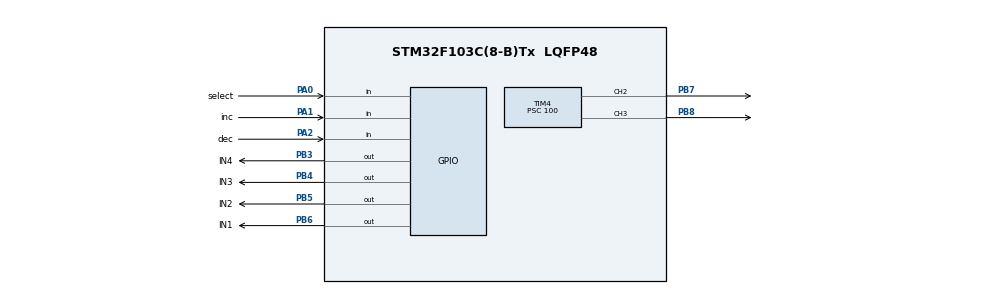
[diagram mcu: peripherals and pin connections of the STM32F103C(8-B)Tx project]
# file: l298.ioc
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Mcu.Family=STM32F1
Mcu.Name=STM32F103C(8-B)Tx
Mcu.Package=LQFP48
NVIC.PriorityGroup=NVIC_PRIORITYGROUP_4
PA0-WKUP.GPIO_Label=select
PA0-WKUP.GPIO_PuPd=GPIO_PULLUP
PA0-WKUP.Signal=GPIO_Input
PA1.GPIO_Label=inc
PA1.GPIO_PuPd=GPIO_PULLUP
PA1.Signal=GPIO_Input
PA13.Mode=Serial_Wire
PA13.Signal=SYS_JTMS-SWDIO
PA14.Mode=Serial_Wire
PA14.Signal=SYS_JTCK-SWCLK
PA2.GPIO_Label=dec
PA2.GPIO_PuPd=GPIO_PULLUP
PA2.Signal=GPIO_Input
PB3.GPIO_Label=IN4
PB3.Signal=GPIO_Output
PB4.GPIO_Label=IN3
PB4.Signal=GPIO_Output
PB5.GPIO_Label=IN2
PB5.Signal=GPIO_Output
PB6.GPIO_Label=IN1
PB6.Signal=GPIO_Output
PB7.Signal=S_TIM4_CH2
PB8.Signal=S_TIM4_CH3
ProjectManager.HeapSize=0x200
ProjectManager.StackSize=0x400
ProjectManager.TargetToolchain=EWARM V8.32
RCC.APB1Freq_Value=8000000
RCC.APB2Freq_Value=8000000
SH.S_TIM4_CH2.0=TIM4_CH2,PWM Generation2 CH2
SH.S_TIM4_CH3.0=TIM4_CH3,PWM Generation3 CH3
TIM4.Channel-PWM\ Generation2\ CH2=TIM_CHANNEL_2
TIM4.Channel-PWM\ Generation3\ CH3=TIM_CHANNEL_3
TIM4.ClockDivision=TIM_CLOCKDIVISION_DIV1
TIM4.Period=1000
TIM4.Prescaler=100
VP_TIM4_VS_ClockSourceINT.Mode=Internal
board=custom

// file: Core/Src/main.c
/* USER CODE BEGIN Header */
/**
  ******************************************************************************
  * @file           : main.c
  * @brief          : Main program body
  ******************************************************************************
  * @attention
  *
  * Copyright (c) 2025 STMicroelectronics.
  * All rights reserved.
  *
  * This software is licensed under terms that can be found in the LICENSE file
  * in the root directory of this software component.
  * If no LICENSE file comes with this software, it is provided AS-IS.
  *
  ******************************************************************************
  */
/* USER CODE END Header */
#include "main.h"

/* USER CODE BEGIN Includes */
#include "L298.h"
/* USER CODE END Includes */

TIM_HandleTypeDef htim4;

/* USER CODE BEGIN PV */
volatile int pwm=0;
char motor=0;
/* USER CODE END PV */

void SystemClock_Config(void);
static void MX_GPIO_Init(void);
static void MX_TIM4_Init(void);

int main(void)
{

  /* MCU Configuration--------------------------------------------------------*/

  /* Reset of all peripherals, Initializes the Flash interface and the Systick. */
  HAL_Init();

  /* Configure the system clock */
  SystemClock_Config();

  /* Initialize all configured peripherals */
  MX_GPIO_Init();
  MX_TIM4_Init();
  /* USER CODE BEGIN 2 */

  HAL_TIM_PWM_Start(&htim4,TIM_CHANNEL_2);
  HAL_TIM_PWM_Start(&htim4,TIM_CHANNEL_3);

  /* USER CODE END 2 */

  /* Infinite loop */
  /* USER CODE BEGIN WHILE */
  while (1)
  {

    if(SELECT_PIN == 0)
    {
        m1_right();
        m2_right();
    }
    if(SELECT_PIN == 1)
    {
        m1_left();
        m2_left();
    }

    if(INC_PIN == 1){pwm++;HAL_Delay(1);if(pwm==1000)pwm=0;}
    if(DEC_PIN == 1){pwm--;HAL_Delay(1);if(pwm==0) pwm=0;}

  __HAL_TIM_SetCompare(&htim4,TIM_CHANNEL_2,pwm);
  __HAL_TIM_SetCompare(&htim4,TIM_CHANNEL_3,pwm);

    /* USER CODE END WHILE */

  }
}

void SystemClock_Config(void)
{
  RCC_OscInitTypeDef RCC_OscInitStruct = {0};
  RCC_ClkInitTypeDef RCC_ClkInitStruct = {0};

  /** Initializes the RCC Oscillators according to the specified parameters
  * in the RCC_OscInitTypeDef structure.
  */
  RCC_OscInitStruct.OscillatorType = RCC_OSCILLATORTYPE_HSI;
  RCC_OscInitStruct.HSIState = RCC_HSI_ON;
  RCC_OscInitStruct.HSICalibrationValue = RCC_HSICALIBRATION_DEFAULT;
  RCC_OscInitStruct.PLL.PLLState = RCC_PLL_NONE;
  if (HAL_RCC_OscConfig(&RCC_OscInitStruct) != HAL_OK)
  {
    Error_Handler();
  }

  /** Initializes the CPU, AHB and APB buses clocks
  */
  RCC_ClkInitStruct.ClockType = RCC_CLOCKTYPE_HCLK|RCC_CLOCKTYPE_SYSCLK
                              |RCC_CLOCKTYPE_PCLK1|RCC_CLOCKTYPE_PCLK2;
  RCC_ClkInitStruct.SYSCLKSource = RCC_SYSCLKSOURCE_HSI;
  RCC_ClkInitStruct.AHBCLKDivider = RCC_SYSCLK_DIV1;
  RCC_ClkInitStruct.APB1CLKDivider = RCC_HCLK_DIV1;
  RCC_ClkInitStruct.APB2CLKDivider = RCC_HCLK_DIV1;

  if (HAL_RCC_ClockConfig(&RCC_ClkInitStruct, FLASH_LATENCY_0) != HAL_OK)
  {
    Error_Handler();
  }
}

static void MX_TIM4_Init(void)
{

  TIM_ClockConfigTypeDef sClockSourceConfig = {0};
  TIM_MasterConfigTypeDef sMasterConfig = {0};
  TIM_OC_InitTypeDef sConfigOC = {0};

  htim4.Instance = TIM4;
  htim4.Init.Prescaler = 100;
  htim4.Init.CounterMode = TIM_COUNTERMODE_UP;
  htim4.Init.Period = 1000;
  htim4.Init.ClockDivision = TIM_CLOCKDIVISION_DIV1;
  htim4.Init.AutoReloadPreload = TIM_AUTORELOAD_PRELOAD_DISABLE;
  if (HAL_TIM_Base_Init(&htim4) != HAL_OK)
  {
    Error_Handler();
  }
  sClockSourceConfig.ClockSource = TIM_CLOCKSOURCE_INTERNAL;
  if (HAL_TIM_ConfigClockSource(&htim4, &sClockSourceConfig) != HAL_OK)
  {
    Error_Handler();
  }
  if (HAL_TIM_PWM_Init(&htim4) != HAL_OK)
  {
    Error_Handler();
  }
  sMasterConfig.MasterOutputTrigger = TIM_TRGO_RESET;
  sMasterConfig.MasterSlaveMode = TIM_MASTERSLAVEMODE_DISABLE;
  if (HAL_TIMEx_MasterConfigSynchronization(&htim4, &sMasterConfig) != HAL_OK)
  {
    Error_Handler();
  }
  sConfigOC.OCMode = TIM_OCMODE_PWM1;
  sConfigOC.Pulse = 0;
  sConfigOC.OCPolarity = TIM_OCPOLARITY_HIGH;
  sConfigOC.OCFastMode = TIM_OCFAST_DISABLE;
  if (HAL_TIM_PWM_ConfigChannel(&htim4, &sConfigOC, TIM_CHANNEL_2) != HAL_OK)
  {
    Error_Handler();
  }
  if (HAL_TIM_PWM_ConfigChannel(&htim4, &sConfigOC, TIM_CHANNEL_3) != HAL_OK)
  {
    Error_Handler();
  }
  HAL_TIM_MspPostInit(&htim4);

}

static void MX_GPIO_Init(void)
{
  GPIO_InitTypeDef GPIO_InitStruct = {0};

  /* GPIO Ports Clock Enable */
  __HAL_RCC_GPIOA_CLK_ENABLE();
  __HAL_RCC_GPIOB_CLK_ENABLE();

  /*Configure GPIO pin Output Level */
  HAL_GPIO_WritePin(GPIOB, IN4_Pin|IN3_Pin|IN2_Pin|IN1_Pin, GPIO_PIN_RESET);

  /*Configure GPIO pins : select_Pin inc_Pin dec_Pin */
  GPIO_InitStruct.Pin = select_Pin|inc_Pin|dec_Pin;
  GPIO_InitStruct.Mode = GPIO_MODE_INPUT;
  GPIO_InitStruct.Pull = GPIO_PULLUP;
  HAL_GPIO_Init(GPIOA, &GPIO_InitStruct);

  /*Configure GPIO pins : IN4_Pin IN3_Pin IN2_Pin IN1_Pin */
  GPIO_InitStruct.Pin = IN4_Pin|IN3_Pin|IN2_Pin|IN1_Pin;
  GPIO_InitStruct.Mode = GPIO_MODE_OUTPUT_PP;
  GPIO_InitStruct.Pull = GPIO_NOPULL;
  GPIO_InitStruct.Speed = GPIO_SPEED_FREQ_LOW;
  HAL_GPIO_Init(GPIOB, &GPIO_InitStruct);

}

void Error_Handler(void)
{
  __disable_irq();
  while (1)
  {
  }
}
